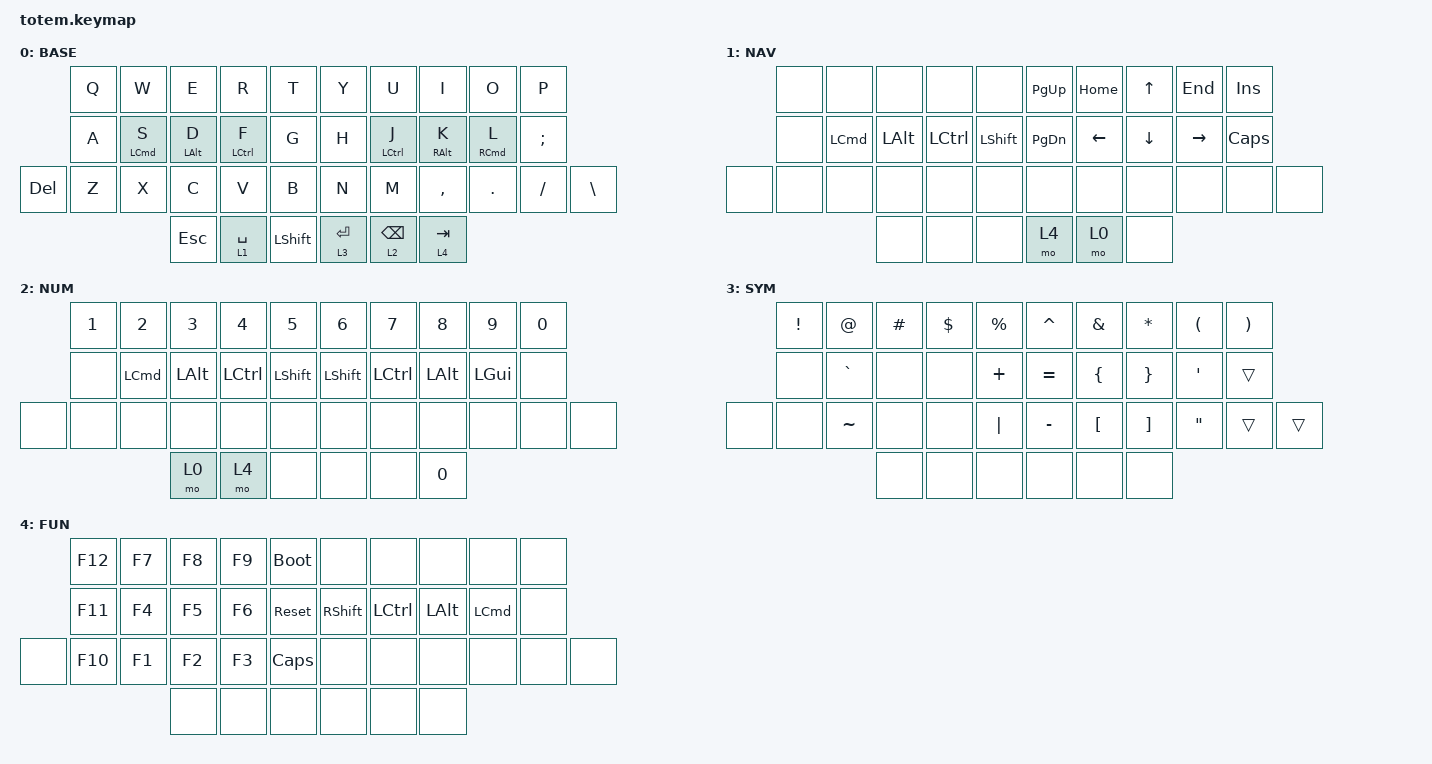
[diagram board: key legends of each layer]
#include <behaviors.dtsi>
#include <dt-bindings/zmk/keys.h>

#define BASE 0
#define NAV  1
#define NUM  2
#define SYM  3
#define FUN  4
#define MEDIA 5
#define MOUSE 6

&mt {
    quick-tap-ms = <100>;
    global-quick-tap;
    flavor = "tap-preferred";
    tapping-term-ms = <170>;
};

/ {
    combos {
        compatible = "zmk,combos";

        combo_esc {
            timeout-ms = <50>;
            key-positions = <0 1>;
            bindings = <&kp ESC>;
        };

        escaperw {
            bindings = <&kp ESCAPE>;
            key-positions = <1 3>;
        };
    };

    macros {
        gif: gif {
            label = "giphy";
            compatible = "zmk,behavior-macro";
            #binding-cells = <0>;
            bindings =
                <&macro_press>,
                <&kp LSHFT>,
                <&macro_tap>,
                <&kp N2>,
                <&macro_release>,
                <&kp LSHFT>,
                <&macro_tap>,
                <&kp G &kp I &kp F>;
        };
    };

    keymap {
        compatible = "zmk,keymap";

        base_layer {
            label = "BASE";
            bindings = <
            &kp Q  &kp W               &kp E           &kp R               &kp T         &kp Y      &kp U               &kp I            &kp O                &kp P
            &kp A  &mt LEFT_COMMAND S  &mt LEFT_ALT D  &mt LEFT_CONTROL F  &kp G         &kp H      &mt LEFT_CONTROL J  &mt RIGHT_ALT K  &mt RIGHT_COMMAND L  &kp SEMICOLON
&kp DELETE  &kp Z  &kp X               &kp C           &kp V               &kp B         &kp N      &kp M               &kp COMMA        &kp DOT              &kp FSLH       &kp BSLH
                                       &kp ESCAPE      &lt 1 SPACE         &kp LSHIFT    &lt 3 RET  &lt 2 BSPC          &lt 4 TAB
            >;
        };

        nav_layer {
            label = "NAV";
            bindings = <
       &none  &none             &none         &none             &none             &kp PG_UP  &kp HOME  &kp UP    &kp END    &kp INS
       &none  &kp LEFT_COMMAND  &kp LEFT_ALT  &kp LEFT_CONTROL  &kp LEFT_SHIFT    &kp PG_DN  &kp LEFT  &kp DOWN  &kp RIGHT  &kp CAPS
&none  &none  &none             &none         &none             &none             &none      &none     &none     &none      &none     &none
                                &none         &none             &none             &mo 4      &mo 0     &none
            >;
        };

        num_layer {
            label = "NUM";
            bindings = <
       &kp NUMBER_1  &kp N2            &kp N3        &kp N4     &kp N5            &kp N6     &kp N7     &kp N8    &kp N9    &kp N0
       &none         &kp LEFT_COMMAND  &kp LEFT_ALT  &kp LCTRL  &kp LEFT_SHIFT    &kp LSHFT  &kp LCTRL  &kp LALT  &kp LGUI  &none
&none  &none         &none             &none         &none      &none             &none      &none      &none     &none     &none   &none
                                       &mo 0         &mo 4      &none             &none      &none      &kp N0
            >;
        };

        sym_layer {
            label = "SYM";
            bindings = <
       &kp EXCL  &kp AT     &kp HASH  &kp DOLLAR  &kp PERCENT    &kp CARET  &kp AMPERSAND     &kp STAR           &kp LEFT_PARENTHESIS  &kp RIGHT_PARENTHESIS
       &none     &kp GRAVE  &none     &none       &kp PLUS       &kp EQUAL  &kp LEFT_BRACE    &kp RIGHT_BRACE    &kp SINGLE_QUOTE      &trans
&none  &none     &kp TILDE  &none     &none       &kp PIPE       &kp MINUS  &kp LEFT_BRACKET  &kp RIGHT_BRACKET  &kp DOUBLE_QUOTES     &trans                 &trans
                            &none     &none       &none          &none      &none             &none
            >;
        };

        fun_layer {
            label = "FUN";
            bindings = <
       &kp F12  &kp F7  &kp F8  &kp F9  &bootloader    &none            &none      &none         &none             &none
       &kp F11  &kp F4  &kp F5  &kp F6  &sys_reset     &kp RIGHT_SHIFT  &kp LCTRL  &kp LEFT_ALT  &kp LEFT_COMMAND  &none
&none  &kp F10  &kp F1  &kp F2  &kp F3  &kp CAPS       &none            &none      &none         &none             &none  &none
                        &none   &none   &none          &none            &none      &none
            >;
        };
    };
};
